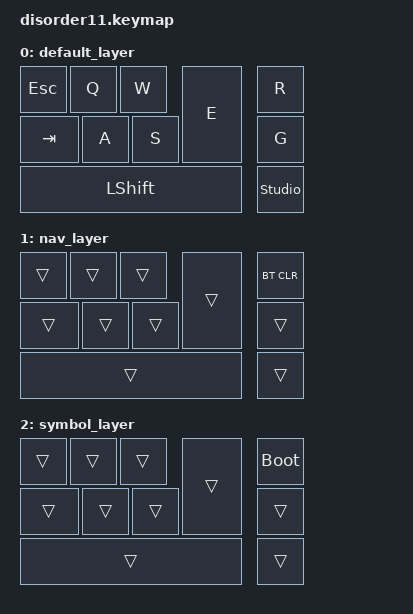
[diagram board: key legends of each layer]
/*
 * Copyright (c) 2023 The ZMK Contributors
 *
 * SPDX-License-Identifier: MIT
 */

#define DEFAULT 0
#define LOWER   1
#define RAISE   2

#include <behaviors.dtsi>
#include <dt-bindings/zmk/keys.h>
#include <dt-bindings/zmk/bt.h>
#include <dt-bindings/zmk/outputs.h>

/ {
    keymap {
        compatible = "zmk,keymap";

        default_layer {
            bindings = <
    &kp ESC     &kp Q     &kp W     &kp E      &kp R
    &kp TAB     &kp A     &kp S                &kp G
    &kp LSHIFT                                 &studio_unlock 
            >;
        };

        nav_layer {
            bindings = <
    &trans     &trans    &trans     &trans      &bt BT_CLR
    &trans     &trans     &trans                &trans
    &trans                                      &trans
            >;
        };

        symbol_layer {
            bindings = <
    &trans     &trans    &trans     &trans      &bootloader
    &trans     &trans     &trans                &trans
    &trans                                      &trans
            >;
        };
    };
};
